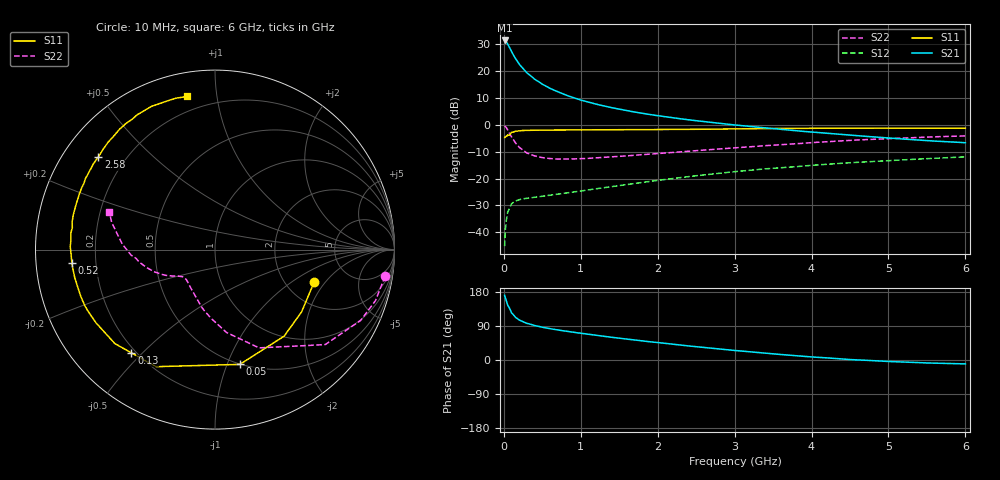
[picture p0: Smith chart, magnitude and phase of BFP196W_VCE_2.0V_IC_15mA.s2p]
! Infineon Technologies  Discrete & RF Semiconductors
! BFP196W
! VCE = 2.0 V,  IC =  15mA
! Common Emitter S-Parameters:  Jan 2016
# GHz  S  MA  R  50
!  f  S11  S21  S12  S22
! GHz  MAG  ANG  MAG  ANG  MAG  ANG  MAG  ANG
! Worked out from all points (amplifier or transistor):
!   210 points, 10 MHz to 6 GHz, reference 50 ohm
!   highest |S21| = 31.5 dB at 10 MHz (marker M1)
!   |S21| within 3 dB of that: start of sweep to 79.05 MHz
!   unconditionally stable (mu >= 1): 965.1 MHz to 3.324 GHz
!   at 185 MHz: K = 0.28, MSG = 25.7 dB, |S12| = -28.0 dB
!   at 1.52 GHz: K = 1.15, MAG = 11.8 dB, |S12| = -22.5 dB
!   at 6 GHz: K = 0.95, MSG = 2.6 dB, |S12| = -11.9 dB
!   S11 on the Smith chart (normalised r, x): 10 MHz: 2.85, -1.55; 50 MHz: 0.50, -1.11; 130 MHz: 0.18, -0.46; 520 MHz: 0.11, -0.05; 2.58 GHz: 0.10, +0.34; 6 GHz: 0.12, +0.83
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0.01  0.5814 -18.0  37.55 170.8  0.0055 80.9  0.9593 -8.9
0.02  0.5944 -35.8  37.27 164.6  0.0112 74.7  0.938 -17.7
0.025  0.6002 -43.7  36.56 161.2  0.0135 71.7  0.9179 -21.7
0.03  0.6172 -51.4  35.98 157.6  0.0159 69.6  0.9026 -25.9
0.05  0.6543 -77.8  32.24 144.8  0.0235 58.0  0.811 -40.7
0.1  0.7301 -116.7  23.24 124.4  0.034 41.4  0.5999 -65.9
0.13  0.7401 -129.0  19.62 118.1  0.0364 36.4  0.514 -74.7
0.15  0.7651 -136.8  17.38 112.5  0.0382 33.4  0.4654 -82.2
0.2  0.7787 -148.5  13.57 105.5  0.0405 29.9  0.3831 -93.3
0.26  0.7899 -156.8  10.79 99.8  0.0422 28.2  0.3292 -103.0
0.3  0.792 -161.0  9.343 96.7  0.043 27.7  0.2994 -108.4
0.4  0.797 -168.6  7.123 90.9  0.0448 28.4  0.2647 -118.0
0.52  0.8007 -174.6  5.562 85.7  0.0472 30.5  0.2439 -126.0
0.7  0.8065 178.8  4.158 79.3  0.051 34.2  0.2312 -133.4
1.02  0.8056 170.8  2.86 70.1  0.0592 40.3  0.2357 -140.0
1.4  0.8135 162.7  2.101 60.0  0.0709 45.4  0.2539 -144.3
2.02  0.8229 151.1  1.474 45.6  0.0934 49.5  0.2941 -150.2
2.58  0.8299 141.6  1.163 33.4  0.1163 49.7  0.3385 -156.9
3.1  0.8456 133.1  0.968 23.4  0.1388 47.8  0.3833 -163.8
4.1  0.8675 118.8  0.719 6.9  0.1808 42.0  0.4775 -177.8
5.1  0.8699 107.8  0.557 -4.6  0.22 34.6  0.5639 169.1
6  0.867 100.2  0.466 -10.3  0.2543 28.2  0.6243 160.4
